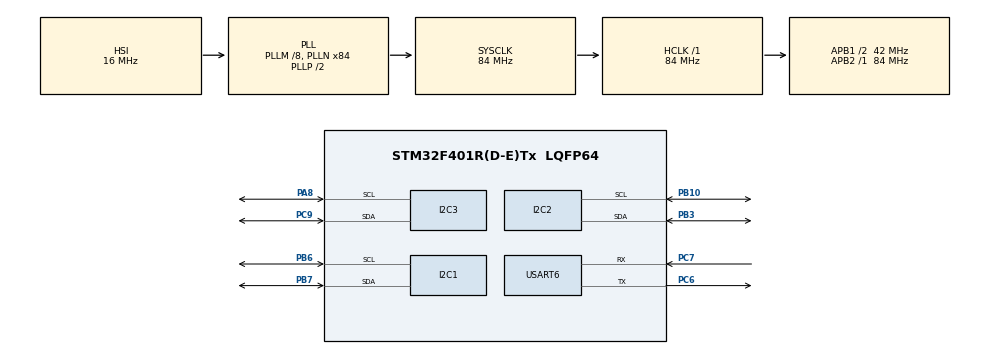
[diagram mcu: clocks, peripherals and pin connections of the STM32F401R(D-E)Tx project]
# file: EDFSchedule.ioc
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FREERTOS.Queues01=myQueue01,16,uint16_t,0,Dynamic,NULL,NULL;myQueue02,16,uint16_t,0,Dynamic,NULL,NULL;myQueue03,16,uint16_t,0,Dynamic,NULL,NULL;myQueue04,16,uint16_t,0,Dynamic,NULL,NULL
FREERTOS.Tasks01=defaultTask,29,512,StartDefaultTask,Default,NULL,Dynamic,NULL,NULL;RealTime,29,512,StartTask02,Default,NULL,Dynamic,NULL,NULL;DisplayTemp,28,512,StartTask03,Default,NULL,Dynamic,NULL,NULL;DisplayTime,27,512,StartTask04,Default,NULL,Dynamic,NULL,NULL;myTask05,26,256,StartTask05,Default,NULL,Dynamic,NULL,NULL;myTask06,25,512,StartTask06,Default,NULL,Dynamic,NULL,NULL;myTask07,8,512,StartTask07,Default,NULL,Dynamic,NULL,NULL
Mcu.Family=STM32F4
Mcu.Name=STM32F401R(D-E)Tx
Mcu.Package=LQFP64
NVIC.PriorityGroup=NVIC_PRIORITYGROUP_4
NVIC.USART6_IRQn=true\:5\:0\:false\:false\:true\:true\:true\:true\:true
PA13.Mode=Serial_Wire
PA13.Signal=SYS_JTMS-SWDIO
PA14.Mode=Serial_Wire
PA14.Signal=SYS_JTCK-SWCLK
PA8.Mode=I2C
PA8.Signal=I2C3_SCL
PB10.Mode=I2C
PB10.Signal=I2C2_SCL
PB3.Mode=I2C
PB3.Signal=I2C2_SDA
PB6.Mode=I2C
PB6.Signal=I2C1_SCL
PB7.Mode=I2C
PB7.Signal=I2C1_SDA
PC6.Mode=Asynchronous
PC6.Signal=USART6_TX
PC7.Mode=Asynchronous
PC7.Signal=USART6_RX
PC9.Mode=I2C
PC9.Signal=I2C3_SDA
PH0\ -\ OSC_IN.Mode=HSE-External-Oscillator
PH0\ -\ OSC_IN.Signal=RCC_OSC_IN
PH1\ -\ OSC_OUT.Mode=HSE-External-Oscillator
PH1\ -\ OSC_OUT.Signal=RCC_OSC_OUT
ProjectManager.HeapSize=0x200
ProjectManager.StackSize=0x400
ProjectManager.TargetToolchain=STM32CubeIDE
RCC.48MHZClocksFreq_Value=42000000
RCC.AHBFreq_Value=84000000
RCC.APB1CLKDivider=RCC_HCLK_DIV2
RCC.APB1Freq_Value=42000000
RCC.APB1TimFreq_Value=84000000
RCC.APB2Freq_Value=84000000
RCC.APB2TimFreq_Value=84000000
RCC.CortexFreq_Value=84000000
RCC.HCLKFreq_Value=84000000
RCC.HSE_VALUE=25000000
RCC.HSI_VALUE=16000000
RCC.LSE_VALUE=32768
RCC.PLLM=8
RCC.PLLN=84
RCC.SYSCLKFreq_VALUE=84000000
RCC.SYSCLKSource=RCC_SYSCLKSOURCE_PLLCLK
RCC.VCOOutputFreq_Value=168000000
USART6.VirtualMode=VM_ASYNC
VP_FREERTOS_VS_CMSIS_V2.Mode=CMSIS_V2
board=custom

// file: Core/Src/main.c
/* USER CODE BEGIN Header */
/**
  ******************************************************************************
  * @file           : main.c
  * @brief          : Main program body
  ******************************************************************************
  * @attention
  *
  * Copyright (c) 2025 STMicroelectronics.
  * All rights reserved.
  *
  * This software is licensed under terms that can be found in the LICENSE file
  * in the root directory of this software component.
  * If no LICENSE file comes with this software, it is provided AS-IS.
  *
  ******************************************************************************
  */
/* USER CODE END Header */
#include "main.h"
#include "cmsis_os.h"

/* USER CODE BEGIN Includes */
#include "stdio.h"
#include "string.h"
#include "stdlib.h"
#include "math.h"

// The libraries for sensors: DS1307, LCD, SHT21
#include "sht2x_for_stm32_hal.h"
#include "i2c-lcd.h"
#include "I2C_DS3231.h"
#include "print_cli.h"
#include "command_excute.h"
#include <stdbool.h>

/* USER CODE END Includes */

I2C_HandleTypeDef hi2c1;
I2C_HandleTypeDef hi2c2;
I2C_HandleTypeDef hi2c3;

UART_HandleTypeDef huart6;

/* Definitions for defaultTask */
osThreadId_t defaultTaskHandle;
const osThreadAttr_t defaultTask_attributes = {
  .name = "defaultTask",
  .stack_size = 512 * 4,
  .priority = (osPriority_t) osPriorityNormal5,
};
/* Definitions for RealTime */
osThreadId_t RealTimeHandle;
const osThreadAttr_t RealTime_attributes = {
  .name = "RealTime",
  .stack_size = 512 * 4,
  .priority = (osPriority_t) osPriorityNormal5,
};
/* Definitions for DisplayTemp */
osThreadId_t DisplayTempHandle;
const osThreadAttr_t DisplayTemp_attributes = {
  .name = "DisplayTemp",
  .stack_size = 512 * 4,
  .priority = (osPriority_t) osPriorityNormal4,
};
/* Definitions for DisplayTime */
osThreadId_t DisplayTimeHandle;
const osThreadAttr_t DisplayTime_attributes = {
  .name = "DisplayTime",
  .stack_size = 512 * 4,
  .priority = (osPriority_t) osPriorityNormal3,
};
/* Definitions for myTask05 */
osThreadId_t myTask05Handle;
const osThreadAttr_t myTask05_attributes = {
  .name = "myTask05",
  .stack_size = 256 * 4,
  .priority = (osPriority_t) osPriorityNormal2,
};
/* Definitions for myTask06 */
osThreadId_t myTask06Handle;
const osThreadAttr_t myTask06_attributes = {
  .name = "myTask06",
  .stack_size = 512 * 4,
  .priority = (osPriority_t) osPriorityNormal1,
};
/* Definitions for myTask07 */
osThreadId_t myTask07Handle;
const osThreadAttr_t myTask07_attributes = {
  .name = "myTask07",
  .stack_size = 512 * 4,
  .priority = (osPriority_t) osPriorityLow,
};
/* Definitions for myQueue01 */
osMessageQueueId_t myQueue01Handle;
const osMessageQueueAttr_t myQueue01_attributes = {
  .name = "myQueue01"
};
/* Definitions for myQueue02 */
osMessageQueueId_t myQueue02Handle;
const osMessageQueueAttr_t myQueue02_attributes = {
  .name = "myQueue02"
};
/* Definitions for myQueue03 */
osMessageQueueId_t myQueue03Handle;
const osMessageQueueAttr_t myQueue03_attributes = {
  .name = "myQueue03"
};
/* Definitions for myQueue04 */
osMessageQueueId_t myQueue04Handle;
const osMessageQueueAttr_t myQueue04_attributes = {
  .name = "myQueue04"
};
/* USER CODE BEGIN PV */

#define DWT_CTRL   (*(volatile uint32_t*)0XE0001000)

DateTime date_time;

// Task deadlines
TickType_t taskReadTempDeadline;
TickType_t taskReadTimeDeadline;
TickType_t taskDisplayTempDeadline;
TickType_t taskDisplayTimeDeadline;
TickType_t taskReadRhDeadline;
TickType_t taskDisplayRhDeadline;
typedef struct{
	int id;
	int period;
	int execTime;
	int deadline;
	int priotity;
	int allPeriod;
	bool changed;
} Task;
Task tasks[6] = {
        {0, 2000, 50, 100, 5, 10, false},  // Task 1
        {1, 1000, 4, 200, 11, 10, false}, // Task 2
        {2, 2000, 4, 300, 17, 10, false}, // Task 3
        {3, 1000, 4, 400, 23, 10, false}, // Task 4
        {4, 2000, 50, 500, 29, 10, false}, // Task 5
        {5, 2000, 4, 600, 35, 10, false}  // Task 6
    };
Task prev_tasks[6] = {
        {0, 2000, 50, 100, 5, 10, false},  // Task 1
        {1, 1000, 4, 200, 11, 10, false}, // Task 2
        {2, 2000, 4, 300, 17, 10, false}, // Task 3
        {3, 1000, 4, 400, 23, 10, false}, // Task 4
        {4, 2000, 50, 500, 29, 10, false}, // Task 5
        {5, 2000, 4, 600, 35, 10, false}  // Task 6
    };
#define TASK_READ_TEMP_DEADLINE_MS    100
#define TASK_READ_TIME_DEADLINE_MS    200
#define TASK_DISPLAY_TEMP_DEADLINE_MS 300
#define TASK_DISPLAY_TIME_DEADLINE_MS 400
#define TASK_READ_RH_DEADLINE_MS	  500
#define TASK_DISPLAY_RH_DEADLINE_MS	  600
int deadline[] = {100, 200, 300, 400, 500, 600};

#define TASK_READ_TEMP_PERIOD_MS    2000
#define TASK_READ_TIME_PERIOD_MS    1000
#define TASK_DISPLAY_TEMP_PERIOD_MS 2000
#define TASK_DISPLAY_TIME_PERIOD_MS 1000
#define TASK_READ_RH_PERIOD_MS		2000
#define TASK_DISPLAY_RH_PERIOD_MS		2000
int period[] = {2000, 1000, 2000, 1000, 2000, 2000};

#define TASK_READ_TEMP_EXEC_TIME_MS 50
#define TASK_READ_TIME_EXEC_TIME_MS 4
#define TASK_DISPLAY_TEMP_EXEC_TIME_MS 4
#define TASK_DISPLAY_TIME_EXEC_TIME_MS 4
#define TASK_READ_RH_EXEC_TIME_MS 50
#define TASK_DISPLAY_RH_EXEC_TIME_MS 4
int execute[] = {50, 4, 4, 4, 50, 4};
#define MAX_STRING_SIZE 20

#define RX_BUFFER_SIZE 30
uint8_t rx_buffer[RX_BUFFER_SIZE];
char rx_byte;
uint16_t rx_index = 0;
typedef struct {
    char task[MAX_STRING_SIZE];  // Trư�?ng chứa chuỗi "task1"
    int values[5];               // Mảng chứa 5 số nguyên
} TaskData;
/* USER CODE END PV */

void SystemClock_Config(void);
static void MX_GPIO_Init(void);
static void MX_I2C1_Init(void);
static void MX_I2C2_Init(void);
static void MX_I2C3_Init(void);
static void MX_USART6_UART_Init(void);
void StartDefaultTask(void *argument);
void StartTask02(void *argument);
void StartTask03(void *argument);
void StartTask04(void *argument);
void StartTask05(void *argument);
void StartTask06(void *argument);
void StartTask07(void *argument);

/* USER CODE BEGIN PFP */

extern void SEGGER_UART_init(uint32_t);

void updatePriorities(void);
void AnalyzeCommand(char *);

void parseDataFromISR(const char *Rec, int size, TaskData *taskData);
// Hàm phát hiện thay đổi
bool detectChange(Task *current, Task *previous);
void updatePrevious(Task *previous, Task *current);
/* USER CODE END PFP */

int main(void)
{

  /* MCU Configuration--------------------------------------------------------*/

  /* Reset of all peripherals, Initializes the Flash interface and the Systick. */
  HAL_Init();

  /* Configure the system clock */
  SystemClock_Config();

  /* Initialize all configured peripherals */
  MX_GPIO_Init();
  MX_I2C1_Init();
  MX_I2C2_Init();
  MX_I2C3_Init();
  MX_USART6_UART_Init();
  /* USER CODE BEGIN 2 */
  SEGGER_UART_init(250000);
    //CYCLCNT enable
    DWT_CTRL |= ( 1 << 0);

    SEGGER_SYSVIEW_Conf();

  //Init SHT21, set resolution
    SHT2x_Init(&hi2c1);
    SHT2x_SetResolution(RES_14_12);
    print_cli("Inited SHT21 successfully\n");

    //Init LCD, set start time
    rtc_init(&hi2c3);
    date_time.date = 20;
    date_time.day = 20;
    date_time.hour = 10;
    date_time.i2c = 02;
    date_time.min = 41;
    date_time.mon = 1;
    date_time.sec = 12;
    date_time.year = 25;
    rtc_write_time(&date_time);

    //Init lcd
    lcd_init();
    HAL_UART_Receive_IT(&huart6, &rx_byte, 1);
  /* USER CODE END 2 */

  /* Init scheduler */
  osKernelInitialize();

  /* Create the queue(s) */
  /* creation of myQueue01 */
  myQueue01Handle = osMessageQueueNew (16, sizeof(uint16_t), &myQueue01_attributes);

  /* creation of myQueue02 */
  myQueue02Handle = osMessageQueueNew (16, sizeof(uint16_t), &myQueue02_attributes);

  /* creation of myQueue03 */
  myQueue03Handle = osMessageQueueNew (16, sizeof(uint16_t), &myQueue03_attributes);

  /* creation of myQueue04 */
  myQueue04Handle = osMessageQueueNew (16, sizeof(uint16_t), &myQueue04_attributes);

  /* Create the thread(s) */
  /* creation of defaultTask */
  defaultTaskHandle = osThreadNew(StartDefaultTask, NULL, &defaultTask_attributes);

  /* creation of RealTime */
  RealTimeHandle = osThreadNew(StartTask02, NULL, &RealTime_attributes);

  /* creation of DisplayTemp */
  DisplayTempHandle = osThreadNew(StartTask03, NULL, &DisplayTemp_attributes);

  /* creation of DisplayTime */
  DisplayTimeHandle = osThreadNew(StartTask04, NULL, &DisplayTime_attributes);

  /* creation of myTask05 */
  myTask05Handle = osThreadNew(StartTask05, NULL, &myTask05_attributes);

  /* creation of myTask06 */
  myTask06Handle = osThreadNew(StartTask06, NULL, &myTask06_attributes);

  /* creation of myTask07 */
  myTask07Handle = osThreadNew(StartTask07, NULL, &myTask07_attributes);

  /* Start scheduler */
  osKernelStart();

  /* We should never get here as control is now taken by the scheduler */

  /* Infinite loop */
  while (1)
  {

  }
}

void SystemClock_Config(void)
{
  RCC_OscInitTypeDef RCC_OscInitStruct = {0};
  RCC_ClkInitTypeDef RCC_ClkInitStruct = {0};

  /** Configure the main internal regulator output voltage
  */
  __HAL_RCC_PWR_CLK_ENABLE();
  __HAL_PWR_VOLTAGESCALING_CONFIG(PWR_REGULATOR_VOLTAGE_SCALE2);

  /** Initializes the RCC Oscillators according to the specified parameters
  * in the RCC_OscInitTypeDef structure.
  */
  RCC_OscInitStruct.OscillatorType = RCC_OSCILLATORTYPE_HSI;
  RCC_OscInitStruct.HSIState = RCC_HSI_ON;
  RCC_OscInitStruct.HSICalibrationValue = RCC_HSICALIBRATION_DEFAULT;
  RCC_OscInitStruct.PLL.PLLState = RCC_PLL_ON;
  RCC_OscInitStruct.PLL.PLLSource = RCC_PLLSOURCE_HSI;
  RCC_OscInitStruct.PLL.PLLM = 8;
  RCC_OscInitStruct.PLL.PLLN = 84;
  RCC_OscInitStruct.PLL.PLLP = RCC_PLLP_DIV2;
  RCC_OscInitStruct.PLL.PLLQ = 4;
  if (HAL_RCC_OscConfig(&RCC_OscInitStruct) != HAL_OK)
  {
    Error_Handler();
  }

  /** Initializes the CPU, AHB and APB buses clocks
  */
  RCC_ClkInitStruct.ClockType = RCC_CLOCKTYPE_HCLK|RCC_CLOCKTYPE_SYSCLK
                              |RCC_CLOCKTYPE_PCLK1|RCC_CLOCKTYPE_PCLK2;
  RCC_ClkInitStruct.SYSCLKSource = RCC_SYSCLKSOURCE_PLLCLK;
  RCC_ClkInitStruct.AHBCLKDivider = RCC_SYSCLK_DIV1;
  RCC_ClkInitStruct.APB1CLKDivider = RCC_HCLK_DIV2;
  RCC_ClkInitStruct.APB2CLKDivider = RCC_HCLK_DIV1;

  if (HAL_RCC_ClockConfig(&RCC_ClkInitStruct, FLASH_LATENCY_2) != HAL_OK)
  {
    Error_Handler();
  }
}

static void MX_I2C1_Init(void)
{

  hi2c1.Instance = I2C1;
  hi2c1.Init.ClockSpeed = 100000;
  hi2c1.Init.DutyCycle = I2C_DUTYCYCLE_2;
  hi2c1.Init.OwnAddress1 = 0;
  hi2c1.Init.AddressingMode = I2C_ADDRESSINGMODE_7BIT;
  hi2c1.Init.DualAddressMode = I2C_DUALADDRESS_DISABLE;
  hi2c1.Init.OwnAddress2 = 0;
  hi2c1.Init.GeneralCallMode = I2C_GENERALCALL_DISABLE;
  hi2c1.Init.NoStretchMode = I2C_NOSTRETCH_DISABLE;
  if (HAL_I2C_Init(&hi2c1) != HAL_OK)
  {
    Error_Handler();
  }

}

static void MX_I2C2_Init(void)
{

  hi2c2.Instance = I2C2;
  hi2c2.Init.ClockSpeed = 100000;
  hi2c2.Init.DutyCycle = I2C_DUTYCYCLE_2;
  hi2c2.Init.OwnAddress1 = 0;
  hi2c2.Init.AddressingMode = I2C_ADDRESSINGMODE_7BIT;
  hi2c2.Init.DualAddressMode = I2C_DUALADDRESS_DISABLE;
  hi2c2.Init.OwnAddress2 = 0;
  hi2c2.Init.GeneralCallMode = I2C_GENERALCALL_DISABLE;
  hi2c2.Init.NoStretchMode = I2C_NOSTRETCH_DISABLE;
  if (HAL_I2C_Init(&hi2c2) != HAL_OK)
  {
    Error_Handler();
  }

}

static void MX_I2C3_Init(void)
{

  hi2c3.Instance = I2C3;
  hi2c3.Init.ClockSpeed = 100000;
  hi2c3.Init.DutyCycle = I2C_DUTYCYCLE_2;
  hi2c3.Init.OwnAddress1 = 0;
  hi2c3.Init.AddressingMode = I2C_ADDRESSINGMODE_7BIT;
  hi2c3.Init.DualAddressMode = I2C_DUALADDRESS_DISABLE;
  hi2c3.Init.OwnAddress2 = 0;
  hi2c3.Init.GeneralCallMode = I2C_GENERALCALL_DISABLE;
  hi2c3.Init.NoStretchMode = I2C_NOSTRETCH_DISABLE;
  if (HAL_I2C_Init(&hi2c3) != HAL_OK)
  {
    Error_Handler();
  }

}

static void MX_USART6_UART_Init(void)
{

  huart6.Instance = USART6;
  huart6.Init.BaudRate = 115200;
  huart6.Init.WordLength = UART_WORDLENGTH_8B;
  huart6.Init.StopBits = UART_STOPBITS_1;
  huart6.Init.Parity = UART_PARITY_NONE;
  huart6.Init.Mode = UART_MODE_TX_RX;
  huart6.Init.HwFlowCtl = UART_HWCONTROL_NONE;
  huart6.Init.OverSampling = UART_OVERSAMPLING_16;
  if (HAL_UART_Init(&huart6) != HAL_OK)
  {
    Error_Handler();
  }

}

static void MX_GPIO_Init(void)
{

  /* GPIO Ports Clock Enable */
  __HAL_RCC_GPIOH_CLK_ENABLE();
  __HAL_RCC_GPIOB_CLK_ENABLE();
  __HAL_RCC_GPIOC_CLK_ENABLE();
  __HAL_RCC_GPIOA_CLK_ENABLE();

}

/* USER CODE BEGIN 4 */
void HAL_UART_RxCpltCallback(UART_HandleTypeDef *huart) {
    if (huart->Instance == USART6) {  // Thay USART1 bằng UART của bạn
        if (rx_byte == '\n') {       // Kiểm tra ký tự LF
            rx_buffer[rx_index] = '\0'; // Kết thúc chuỗi
            rx_index = 0;            // Reset index
			osMessageQueuePut(myQueue04Handle, &rx_buffer, 0U, 0U);
        }
         else {
            if (rx_index < RX_BUFFER_SIZE - 1) {
                rx_buffer[rx_index++] = rx_byte; // Lưu byte vào buffer
            }
        }
        // Nhận tiếp byte mới
        HAL_UART_Receive_IT(&huart6, &rx_byte, 1);
    }
}
void updatePriorities(void) {
    TickType_t now = xTaskGetTickCount();

    // Calculate time remaining for each task
    TickType_t timeToDeadlineTemp = taskReadTempDeadline - now;
    TickType_t timeToDeadlineTime = taskReadTimeDeadline - now;
    TickType_t timeToDeadlineDispTemp = taskDisplayTempDeadline - now;
    TickType_t timeToDeadlineDispTime = taskDisplayTimeDeadline - now;
    TickType_t timeToDeadlineRh  = taskReadRhDeadline - now;
    TickType_t timeToDeadlineDispRh = taskDisplayRhDeadline - now;

    // Update priorities dynamically
    vTaskPrioritySet(NULL, osPriorityLow); // Default priority for the current task

    if (timeToDeadlineTemp <= timeToDeadlineTime &&
        timeToDeadlineTemp <= timeToDeadlineDispTemp &&
        timeToDeadlineTemp <= timeToDeadlineDispTime &&
		timeToDeadlineTemp <= timeToDeadlineDispRh &&
		timeToDeadlineTemp <= timeToDeadlineRh) {
        vTaskPrioritySet(defaultTaskHandle, osPriorityHigh);
        printf("Task 01 cao nhat\n");
    } else if (timeToDeadlineTime <= timeToDeadlineDispTemp &&
               timeToDeadlineTime <= timeToDeadlineDispTime &&
			   timeToDeadlineTime <= timeToDeadlineRh &&
			   timeToDeadlineTime <= timeToDeadlineDispRh) {
        vTaskPrioritySet(RealTimeHandle, osPriorityHigh);
        printf("Task 02 cao nhat\n");
    } else if (timeToDeadlineDispTemp <= timeToDeadlineDispTime &&
    		timeToDeadlineDispTemp <= timeToDeadlineDispRh &&
			timeToDeadlineDispTemp <= timeToDeadlineRh) {
        vTaskPrioritySet(DisplayTempHandle, osPriorityHigh);
        print_cli("Task 3 cao nhat\n");
    }else if(timeToDeadlineRh <= timeToDeadlineDispRh &&
    		timeToDeadlineRh <= timeToDeadlineDispTime){
    	vTaskPrioritySet(myTask05Handle, osPriorityHigh);
    	print_cli("Task 5 cao nhat\n");
    }else if(timeToDeadlineDispRh <= timeToDeadlineDispTime){
    	vTaskPrioritySet(myTask06Handle, osPriorityHigh);
    	print_cli("Task 6 cao nhat\n");
    }else {
        vTaskPrioritySet(DisplayTimeHandle, osPriorityHigh);
        print_cli("Task 4 cao nhat\n");

    }
}
void updatePrevious(Task *previous, Task *current) {
    previous->period = current->period;
    previous->execTime = current->execTime;
    previous->deadline = current->deadline;
    previous->allPeriod = current->allPeriod;
    previous->priotity = current->priotity;
}
bool detectChange(Task *current, Task *previous){
    // So sánh từng trư�?ng
    if (current->period != previous->period ||
        current->execTime != previous->execTime ||
        current->deadline != previous->deadline ||
        current->priotity != previous->priotity ||
		current->allPeriod != previous->allPeriod) {
        current->changed = true; // �?ánh dấu thay đổi
        return true;             // Có thay đổi
    }
    current->changed = false;    // Không có thay đổi
    return false;
}
/* USER CODE END 4 */

void StartDefaultTask(void *argument)
{
  /* USER CODE BEGIN 5 */
	TickType_t lastWakeTime = osKernelGetTickCount();
	taskReadTempDeadline = lastWakeTime + pdMS_TO_TICKS(tasks[0].deadline);

	float temp;
	float timeInSeconds;
  /* Infinite loop */
  for(;;)
  {
	  timeInSeconds = (float)osKernelGetTickCount() / configTICK_RATE_HZ;
	  print_cli("Thoi diem bat dau task do nhiet do: %.3f\n", timeInSeconds);
	  temp = SHT2x_GetTemperature(1);
	  print_cli("Nhiet do la %.3f", temp);
	  if (osKernelGetTickCount() > taskReadTempDeadline)
	  	  {
	  		  print_cli("Task Read Temperature missed deadline\n");
	  	  }
	  if (detectChange(&tasks[0], &prev_tasks[0]))
		{
			print_cli("Task 1 has changed.--------------------\n");
			// Cập nhật giá trị trước đó
			taskReadTempDeadline = taskReadTempDeadline + pdMS_TO_TICKS(tasks[0].period)
					- pdMS_TO_TICKS(prev_tasks[0].deadline) + pdMS_TO_TICKS(tasks[0].deadline);
			updatePrevious(&prev_tasks[0], &tasks[0]);
		 }
	  //taskReadTempDeadline += pdMS_TO_TICKS(tasks[0].period);
	  timeInSeconds = (float)osKernelGetTickCount() / configTICK_RATE_HZ;
	  print_cli("Thoi diem ket thuc task do nhiet do: %.3f\n", timeInSeconds);
	  osMessageQueuePut(myQueue01Handle, &temp, 0U, 0U);
	  updatePriorities();
	  vTaskDelayUntil(&lastWakeTime, pdMS_TO_TICKS(tasks[0].period));
  }
  /* USER CODE END 5 */
}

void StartTask02(void *argument)
{
  /* USER CODE BEGIN StartTask02 */
	DateTime dateTimeSend;
	TickType_t lastWakeTime = osKernelGetTickCount();
	taskReadTimeDeadline = lastWakeTime + pdMS_TO_TICKS(tasks[1].deadline);
	float timeInSeconds;
  /* Infinite loop */
  for(;;)
  {
	timeInSeconds = (float)osKernelGetTickCount() / configTICK_RATE_HZ;
	print_cli("Thoi diem bat dau task do thoi gian: %.3f\n", timeInSeconds);
	rtc_read_time(&dateTimeSend);

	//Check Deadline
	if (osKernelGetTickCount() > taskReadTimeDeadline)
	{
		print_cli("Task Read Time missed deadline\n");
	}
	if (detectChange(&tasks[1], &prev_tasks[1]))
	{
		// Cập nhật giá trị trước đó
		taskReadTimeDeadline = taskReadTimeDeadline + pdMS_TO_TICKS(tasks[1].period)
				- pdMS_TO_TICKS(prev_tasks[1].deadline) + pdMS_TO_TICKS(tasks[1].deadline);
		updatePrevious(&prev_tasks[1], &tasks[1]);
	 }
	timeInSeconds = (float)osKernelGetTickCount() / configTICK_RATE_HZ;
	print_cli("Thoi diem ket thuc task do thoi gian: %.3f\n", timeInSeconds);
	osMessageQueuePut(myQueue02Handle, &dateTimeSend, 0U, 0U);
	updatePriorities();
	vTaskDelayUntil(&lastWakeTime, pdMS_TO_TICKS(tasks[1].period));
  }
  /* USER CODE END StartTask02 */
}

void StartTask03(void *argument)
{
  /* USER CODE BEGIN StartTask03 */
	TickType_t lastWakeTime = osKernelGetTickCount();
	taskDisplayTempDeadline = lastWakeTime + pdMS_TO_TICKS(tasks[2].deadline);
	float tempRecv;
	char temStr[6];
	float timeInSeconds;
  /* Infinite loop */
  for(;;)
  {
	  osMessageQueueGet(myQueue01Handle, &tempRecv, NULL, osWaitForever);
	  timeInSeconds = (float)osKernelGetTickCount() / configTICK_RATE_HZ;
	  print_cli("Thoi diem bat dau task send nhiet do: %.3f\n", timeInSeconds);
	  sprintf(temStr, "T:%.3f", tempRecv);
	  lcd_put_cur(0, 9);
	  lcd_send_string(&temStr);
	  print_cli("Temperature is: %.2f\n", tempRecv);
	  // Check deadline
		if (xTaskGetTickCount() > taskDisplayTempDeadline) {
			print_cli("Task Display Temperature missed deadline\n");
		}
		if (detectChange(&tasks[2], &prev_tasks[2]))
		{
			// Cập nhật giá trị trước đó
			taskDisplayTempDeadline = taskDisplayTempDeadline + pdMS_TO_TICKS(tasks[2].period)
					- pdMS_TO_TICKS(prev_tasks[2].deadline) + pdMS_TO_TICKS(tasks[2].deadline);
			updatePrevious(&prev_tasks[2], &tasks[2]);
		 }
		timeInSeconds = (float)osKernelGetTickCount() / configTICK_RATE_HZ;
		print_cli("Thoi diem ket thuc task send nhiet do: %.3f\n", timeInSeconds);
		updatePriorities();
		// Delay until next period
		vTaskDelayUntil(&lastWakeTime, pdMS_TO_TICKS(tasks[2].period));
  }
  /* USER CODE END StartTask03 */
}

void StartTask04(void *argument)
{
  /* USER CODE BEGIN StartTask04 */
	TickType_t lastWakeTime = osKernelGetTickCount();
	taskDisplayTimeDeadline = lastWakeTime + pdMS_TO_TICKS(tasks[3].deadline);
	DateTime dateTimeRecv;
	char timeStrTime[9];
	char timeStrDay[10];
	float timeInSeconds;
  /* Infinite loop */
  for(;;)
  {
	  osMessageQueueGet(myQueue02Handle, &dateTimeRecv, NULL, osWaitForever);
	  timeInSeconds = (float)osKernelGetTickCount() / configTICK_RATE_HZ;
	  print_cli("Thoi diem bat dau task send thoi gian: %.3f\n", timeInSeconds);
	  sprintf(timeStrTime, "%02d:%02d:%02d", dateTimeRecv.hour, dateTimeRecv.min, dateTimeRecv.sec);
	  sprintf(timeStrDay, "%02d/%02d/20%02d", dateTimeRecv.day, dateTimeRecv.mon, dateTimeRecv.year);
	  lcd_put_cur(0, 0);
	  lcd_send_string(&timeStrTime);
	  print_cli("Current time: %s \nDay: %s\n", timeStrTime, timeStrDay);
	  lcd_put_cur(1, 0);
	  lcd_send_string(&timeStrDay);
	  // Check deadline
	  	if (xTaskGetTickCount() > taskDisplayTimeDeadline) {
	  		print_cli("Task Display Time missed deadline\n");
	  	}
	  	if (detectChange(&tasks[3], &prev_tasks[3]))
		{
	  		print_cli("TASK 04 DA THAY DOI");
			// Cập nhật giá trị trước đó
	  		taskDisplayTimeDeadline = taskDisplayTimeDeadline + pdMS_TO_TICKS(tasks[3].period)
					- pdMS_TO_TICKS(prev_tasks[3].deadline) + pdMS_TO_TICKS(tasks[3].deadline);
			updatePrevious(&prev_tasks[3], &tasks[3]);
		 }
	  	timeInSeconds = (float)osKernelGetTickCount() / configTICK_RATE_HZ;
	  	print_cli("Thoi diem ket thuc task send thoi gian: %.3f\n", timeInSeconds);
	  	updatePriorities();
	  	// Delay until next period
	  	vTaskDelayUntil(&lastWakeTime, pdMS_TO_TICKS(tasks[3].period));
	  	// Check deadline
  }
  /* USER CODE END StartTask04 */
}

void StartTask05(void *argument)
{
  /* USER CODE BEGIN StartTask05 */
	float rh;
	TickType_t lastWakeTime = osKernelGetTickCount();
	taskReadRhDeadline = lastWakeTime + pdMS_TO_TICKS(tasks[4].deadline);
	//updatePriorities();
	float timeInSeconds;
  /* Infinite loop */
  for(;;)
  {
	  timeInSeconds = (float)osKernelGetTickCount() / configTICK_RATE_HZ;
	  print_cli("Thoi diem bat dau task do do am: %.3f\n", timeInSeconds);
	  rh = SHT2x_GetRelativeHumidity(1);
	  if (osKernelGetTickCount() > taskReadRhDeadline)
		  {
			  print_cli("Task Read Temperature missed deadline\n");
		  }
	  if (detectChange(&tasks[4], &prev_tasks[4]))
	{
		// Cập nhật giá trị trước đó
		  taskReadRhDeadline = taskReadRhDeadline + pdMS_TO_TICKS(tasks[4].period)
				- pdMS_TO_TICKS(prev_tasks[4].deadline) + pdMS_TO_TICKS(tasks[4].deadline);
		updatePrevious(&prev_tasks[4], &tasks[4]);
	 }
	  taskReadRhDeadline += pdMS_TO_TICKS(period[4]);
	  timeInSeconds = (float)osKernelGetTickCount() / configTICK_RATE_HZ;
	  print_cli("Thoi diem ket thuc task do do am: %.3f\n", timeInSeconds);
	  osMessageQueuePut(myQueue03Handle, &rh, 0U, 0U);
	  updatePriorities();
	  vTaskDelayUntil(&lastWakeTime, pdMS_TO_TICKS(tasks[4].period));
  }
  /* USER CODE END StartTask05 */
}

void StartTask06(void *argument)
{
  /* USER CODE BEGIN StartTask06 */
	TickType_t lastWakeTime = osKernelGetTickCount();
	taskDisplayRhDeadline = lastWakeTime + pdMS_TO_TICKS(tasks[5].deadline);
	float rhRecv;
	char rhStr[6];
	//updatePriorities();
	float timeInSeconds;
  /* Infinite loop */
  for(;;)
  {
	  osMessageQueueGet(myQueue03Handle, &rhRecv, NULL, osWaitForever);
	  timeInSeconds = (float)osKernelGetTickCount() / configTICK_RATE_HZ;
	  print_cli("Thoi diem bat dau task send do am: %.3f\n", timeInSeconds);
	  sprintf(rhStr, "r:%.1f", rhRecv);
	  lcd_put_cur(1, 9);
	  lcd_send_string(&rhStr);
	  // Check deadline
		if (xTaskGetTickCount() > taskDisplayRhDeadline) {
			print_cli("Task Display Temperature missed deadline\n");
		}
		if (detectChange(&tasks[5], &prev_tasks[5]))
		{
			// Cập nhật giá trị trước đó
			taskDisplayRhDeadline = taskDisplayRhDeadline + pdMS_TO_TICKS(tasks[5].period)
					- pdMS_TO_TICKS(prev_tasks[5].deadline) + pdMS_TO_TICKS(tasks[5].deadline);
			updatePrevious(&prev_tasks[5], &tasks[5]);
		 }
		timeInSeconds = (float)osKernelGetTickCount() / configTICK_RATE_HZ;
		print_cli("Thoi diem ket thuc task send do am: %.3f\n", timeInSeconds);
		updatePriorities();
		// Delay until next period
		vTaskDelayUntil(&lastWakeTime, pdMS_TO_TICKS(tasks[5].period));
  }
  /* USER CODE END StartTask06 */
}

void StartTask07(void *argument)
{
  /* USER CODE BEGIN StartTask07 */
	uint8_t Recv_ISR[20];
	TaskData taskData;
	int size;
	char m;
	int fieldRecv[12];
	int field[6];
	int i;
  /* Infinite loop */
  for(;;)
  {
	osMessageQueueGet(myQueue04Handle, &Recv_ISR, NULL, osWaitForever);
	print_cli("Nhan tu ngat yeu cau thay doi thong so lap lich\n");
	for (int i = 0; i < 12; i++)
		fieldRecv[i] = (int)(Recv_ISR[i] - '0');
	for (int i = 0, j = 0; i < 12; i += 2, j++) {
	        // Ghép các số tại vị trí i và i+1 thành số có 2 chữ số
		field[j] = fieldRecv[i] * 10 + fieldRecv[i + 1];
	    }
	i = field[0];
	//print_cli("Thay doi thong so Task %d\n", i+1);
	if(field[1] != 0 && tasks[i].period != field[1] *100)
	{
		tasks[i].period = field[1] * 100;
		print_cli("TASK 04 THAY DOI CHU KY\n");
	}
	if(field[2] != 0)
	{
		//print_cli("Thay doi thoi gian thuc thi\n");
	}
	if(field[3] != 0 && tasks[i].deadline != field[3] * 100)
	{
		tasks[i].deadline = field[3] * 100;
	}
	if(field[4] != 0 && tasks[i].allPeriod != field[4] * 100)
	{
		print_cli("Thay doi chu ky toan bo\n");
		for (int i = 0; i <= 5; i++)
			tasks[i].allPeriod = field[4] * 100;
	}if(field[5] != 0 && field[5] != tasks[i].priotity)
	{
		print_cli("Muc uu tien phu thuoc vao deadline\n");
		tasks[i].priotity = field[5];
	}
//	if (detectChange(&tasks[i], &prev_tasks[i]))
//	{
//		printf("Task %d has changed.\n", i + 1);
//		// Cập nhật giá trị trước đó
//		updatePrevious(&prev_tasks[i], &tasks[i]);
//	 }
    osDelay(1);
  }
  /* USER CODE END StartTask07 */
}

void Error_Handler(void)
{
  __disable_irq();
  while (1)
  {
  }
}
